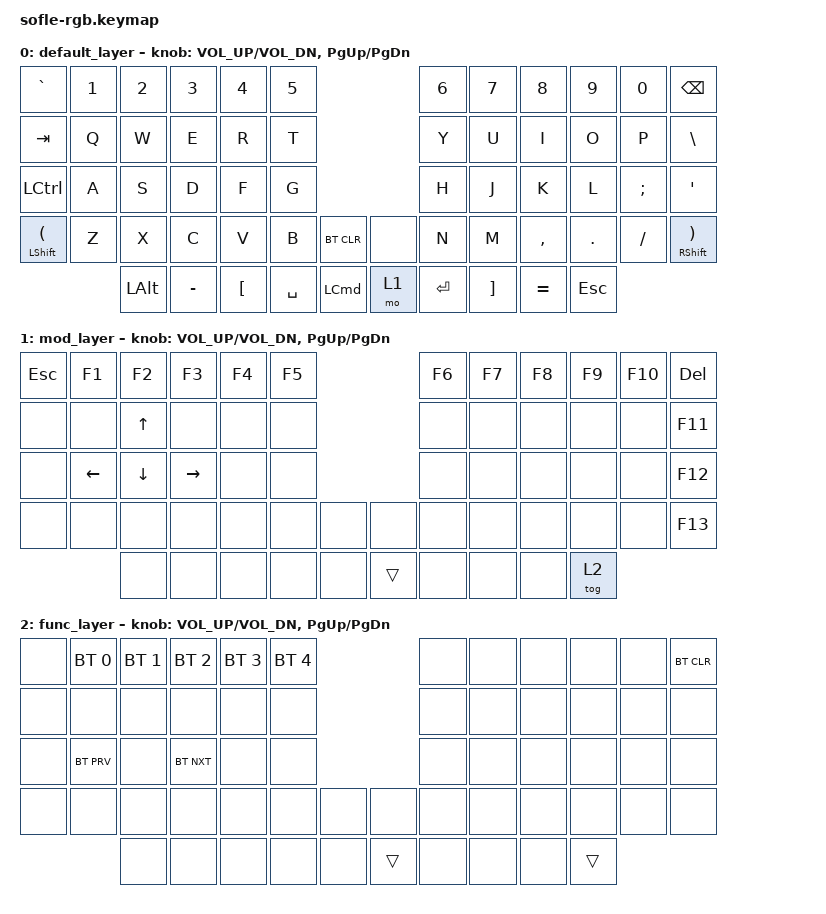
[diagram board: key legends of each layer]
#include <behaviors.dtsi>
#include <dt-bindings/zmk/keys.h>
#include <dt-bindings/zmk/bt.h>

/ {
  keymap {
    compatible = "zmk,keymap";

    default_layer {
      bindings = <
        &kp GRAVE       &kp N1   &kp N2    &kp N3    &kp N4   &kp N5                     &kp N6  &kp N7   &kp N8    &kp N9  &kp N0    &kp BACKSPACE
        &kp TAB         &kp Q    &kp W     &kp E     &kp R    &kp T                      &kp Y   &kp U    &kp I     &kp O   &kp P     &kp BACKSLASH
        &kp LCTRL       &kp A    &kp S     &kp D     &kp F    &kp G                      &kp H   &kp J    &kp K     &kp L   &kp SEMI  &kp SINGLE_QUOTE
        &mt LSHIFT LPAR &kp Z    &kp X     &kp C     &kp V    &kp B     &bt BT_CLR &none &kp N   &kp M    &kp COMMA &kp DOT &kp SLASH &mt RSHIFT RPAR
                                 &kp LALT  &kp MINUS &kp LBKT &kp SPACE &kp LCMD   &mo 1 &kp RET &kp RBKT &kp EQUAL &kp ESC
      >;

      sensor-bindings = <&inc_dec_kp C_VOL_UP C_VOL_DN &inc_dec_kp PG_UP PG_DN>;
    };

    mod_layer {
      bindings = <
        &kp ESC &kp F1   &kp F2   &kp F3    &kp F4 &kp F5             &kp F6 &kp F7 &kp F8 &kp F9 &kp F10 &kp DELETE
        &none   &none    &kp UP   &none     &none  &none              &none  &none  &none  &none  &none   &kp F11
        &none   &kp LEFT &kp DOWN &kp RIGHT &none  &none              &none  &none  &none  &none  &none   &kp F12
        &none   &none    &none    &none     &none  &none &none &none  &none  &none  &none  &none  &none   &kp F13
                         &none    &none     &none  &none &none &trans &none  &none  &none  &tog 2
      >;

      sensor-bindings = <&inc_dec_kp C_VOL_UP C_VOL_DN &inc_dec_kp PG_UP PG_DN>;
    };

    func_layer {
      bindings = <
        &none &bt BT_SEL 0 &bt BT_SEL 1     &bt BT_SEL 2 &bt BT_SEL 3 &bt BT_SEL 4              &none &none &none &none  &none &bt BT_CLR
        &none &none        &none            &none        &none        &none                     &none &none &none &none  &none &none
        &none &bt BT_PRV   &none            &bt BT_NXT   &none        &none                     &none &none &none &none  &none &none
        &none &none        &none            &none        &none        &none        &none &none  &none &none &none &none  &none &none
                           &none            &none        &none        &none        &none &trans &none &none &none &trans
      >;

      sensor-bindings = <&inc_dec_kp C_VOL_UP C_VOL_DN &inc_dec_kp PG_UP PG_DN>;
    };
  };
};

// layer sample
//         &none &none &none &none &none &none             &none &none &none &none &none &none
//         &none &none &none &none &none &none             &none &none &none &none &none &none
//         &none &none &none &none &none &none             &none &none &none &none &none &none
//         &none &none &none &none &none &none &none &none &none &none &none &none &none &none
//                     &none &none &none &none &none &none &none &none &none &none
